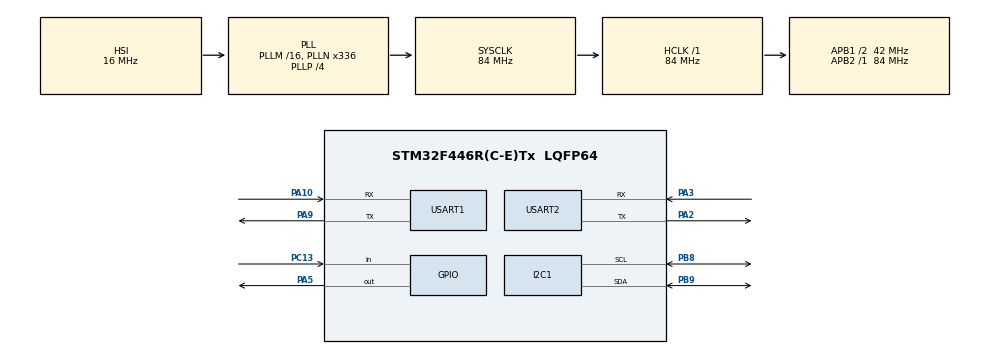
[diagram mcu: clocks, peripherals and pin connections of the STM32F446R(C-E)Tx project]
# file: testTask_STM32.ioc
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Dma.Request0=USART1_RX
Dma.Request1=USART2_RX
Dma.USART1_RX.0.Direction=DMA_PERIPH_TO_MEMORY
Dma.USART1_RX.0.FIFOMode=DMA_FIFOMODE_DISABLE
Dma.USART1_RX.0.Instance=DMA2_Stream2
Dma.USART1_RX.0.MemDataAlignment=DMA_MDATAALIGN_BYTE
Dma.USART1_RX.0.MemInc=DMA_MINC_ENABLE
Dma.USART1_RX.0.Mode=DMA_CIRCULAR
Dma.USART1_RX.0.PeriphDataAlignment=DMA_PDATAALIGN_BYTE
Dma.USART1_RX.0.PeriphInc=DMA_PINC_DISABLE
Dma.USART1_RX.0.Priority=DMA_PRIORITY_LOW
Dma.USART2_RX.1.Direction=DMA_PERIPH_TO_MEMORY
Dma.USART2_RX.1.FIFOMode=DMA_FIFOMODE_DISABLE
Dma.USART2_RX.1.Instance=DMA1_Stream5
Dma.USART2_RX.1.MemDataAlignment=DMA_MDATAALIGN_BYTE
Dma.USART2_RX.1.MemInc=DMA_MINC_ENABLE
Dma.USART2_RX.1.Mode=DMA_CIRCULAR
Dma.USART2_RX.1.PeriphDataAlignment=DMA_PDATAALIGN_BYTE
Dma.USART2_RX.1.PeriphInc=DMA_PINC_DISABLE
Dma.USART2_RX.1.Priority=DMA_PRIORITY_LOW
FREERTOS.Mutexes01=dataMutex01,Dynamic,NULL
FREERTOS.Tasks01=defaultTask,0,128,sensorThread1,Default,NULL,Dynamic,NULL,NULL;myTask02,-3,128,serverThread2,Default,NULL,Dynamic,NULL,NULL
Mcu.Family=STM32F4
Mcu.Name=STM32F446R(C-E)Tx
Mcu.Package=LQFP64
NVIC.DMA1_Stream5_IRQn=true\:5\:0\:false\:false\:true\:true\:false
NVIC.DMA2_Stream2_IRQn=true\:5\:0\:false\:false\:true\:true\:false
NVIC.PriorityGroup=NVIC_PRIORITYGROUP_4
NVIC.TIM3_IRQn=true\:0\:0\:false\:false\:true\:false\:false
NVIC.TimeBase=TIM3_IRQn
NVIC.TimeBaseIP=TIM3
NVIC.USART1_IRQn=true\:5\:0\:false\:false\:true\:true\:true
NVIC.USART2_IRQn=true\:5\:0\:false\:false\:true\:true\:true
PA10.Mode=Asynchronous
PA10.Signal=USART1_RX
PA2.Mode=Asynchronous
PA2.Signal=USART2_TX
PA3.Mode=Asynchronous
PA3.Signal=USART2_RX
PA5.Signal=GPIO_Output
PA9.Mode=Asynchronous
PA9.Signal=USART1_TX
PB8.Mode=I2C
PB8.Signal=I2C1_SCL
PB9.Mode=I2C
PB9.Signal=I2C1_SDA
PC13.Signal=GPIO_Input
ProjectManager.HeapSize=0x200
ProjectManager.StackSize=0x400
ProjectManager.TargetToolchain=MDK-ARM V5
RCC.48MHZClocksFreq_Value=84000000
RCC.AHBFreq_Value=84000000
RCC.APB1CLKDivider=RCC_HCLK_DIV2
RCC.APB1Freq_Value=42000000
RCC.APB1TimFreq_Value=84000000
RCC.APB2Freq_Value=84000000
RCC.APB2TimFreq_Value=84000000
RCC.CortexFreq_Value=84000000
RCC.FLatency-AdvancedSettings=FLASH_LATENCY_2
RCC.HCLKFreq_Value=84000000
RCC.HSE_VALUE=8000000
RCC.HSI_VALUE=16000000
RCC.PLLN=336
RCC.PLLP=RCC_PLLP_DIV4
RCC.SYSCLKFreq_VALUE=84000000
RCC.SYSCLKSource=RCC_SYSCLKSOURCE_PLLCLK
RCC.USBFreq_Value=168000000
RCC.VCOOutputFreq_Value=336000000
USART1.VirtualMode=VM_ASYNC
USART2.VirtualMode=VM_ASYNC
VP_FREERTOS_VS_ENABLE.Mode=Enabled
VP_SYS_VS_tim3.Mode=TIM3
board=NUCLEO-F446RE

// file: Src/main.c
/**
  ******************************************************************************
  * @file           : main.c
  * @brief          : Main program body
  ******************************************************************************
  * This notice applies to any and all portions of this file
  * that are not between comment pairs USER CODE BEGIN and
  * USER CODE END. Other portions of this file, whether
  * inserted by the user or by software development tools
  * are owned by their respective copyright owners.
  *
  * Copyright (c) 2020 STMicroelectronics International N.V.
  * All rights reserved.
  *
  * Redistribution and use in source and binary forms, with or without
  * modification, are permitted, provided that the following conditions are met:
  *
  * 1. Redistribution of source code must retain the above copyright notice,
  *    this list of conditions and the following disclaimer.
  * 2. Redistributions in binary form must reproduce the above copyright notice,
  *    this list of conditions and the following disclaimer in the documentation
  *    and/or other materials provided with the distribution.
  * 3. Neither the name of STMicroelectronics nor the names of other
  *    contributors to this software may be used to endorse or promote products
  *    derived from this software without specific written permission.
  * 4. This software, including modifications and/or derivative works of this
  *    software, must execute solely and exclusively on microcontroller or
  *    microprocessor devices manufactured by or for STMicroelectronics.
  * 5. Redistribution and use of this software other than as permitted under
  *    this license is void and will automatically terminate your rights under
  *    this license.
  *
  * THIS SOFTWARE IS PROVIDED BY STMICROELECTRONICS AND CONTRIBUTORS "AS IS"
  * AND ANY EXPRESS, IMPLIED OR STATUTORY WARRANTIES, INCLUDING, BUT NOT
  * LIMITED TO, THE IMPLIED WARRANTIES OF MERCHANTABILITY, FITNESS FOR A
  * PARTICULAR PURPOSE AND NON-INFRINGEMENT OF THIRD PARTY INTELLECTUAL PROPERTY
  * RIGHTS ARE DISCLAIMED TO THE FULLEST EXTENT PERMITTED BY LAW. IN NO EVENT
  * SHALL STMICROELECTRONICS OR CONTRIBUTORS BE LIABLE FOR ANY DIRECT, INDIRECT,
  * INCIDENTAL, SPECIAL, EXEMPLARY, OR CONSEQUENTIAL DAMAGES (INCLUDING, BUT NOT
  * LIMITED TO, PROCUREMENT OF SUBSTITUTE GOODS OR SERVICES; LOSS OF USE, DATA,
  * OR PROFITS; OR BUSINESS INTERRUPTION) HOWEVER CAUSED AND ON ANY THEORY OF
  * LIABILITY, WHETHER IN CONTRACT, STRICT LIABILITY, OR TORT (INCLUDING
  * NEGLIGENCE OR OTHERWISE) ARISING IN ANY WAY OUT OF THE USE OF THIS SOFTWARE,
  * EVEN IF ADVISED OF THE POSSIBILITY OF SUCH DAMAGE.
  *
  ******************************************************************************
  */
#include "main.h"
#include "stm32f4xx_hal.h"
#include "cmsis_os.h"

/* USER CODE BEGIN Includes */
#include <stdlib.h>
#include <string.h>
#include "MQTTPacket/src/MQTTPacket.h"
#include "sensorsI2C.h"

#define STRLEN(STR)  sizeof(STR)/sizeof(uint8_t)
#define ESPBUF       1000
#define SIZEUART1RES 1
#define SIZEUART2RES 1
#define ATSENDSIZE   48

#define SSID       "summer"
#define PASS       "Milan2019"
#define SERVERURL  "quickstart.messaging.internetofthings.ibmcloud.com"
#define TCPPORT    "1883"
#define MQTTTOPIC  "iot-2/evt/status/fmt/json"
#define MQTTID     "d:quickstart:arduino:6001941ce5bf"

/* USER CODE END Includes */

I2C_HandleTypeDef hi2c1;

UART_HandleTypeDef huart1;
UART_HandleTypeDef huart2;
DMA_HandleTypeDef hdma_usart1_rx;
DMA_HandleTypeDef hdma_usart2_rx;

osThreadId defaultTaskHandle;
osThreadId myTask02Handle;
osMutexId dataMutex01Handle;
osMutexId uart2Mutex02Handle;

float pressure, temperature, humidity;
uint16_t size;
uint8_t Data[256];
uint8_t AT_SSID_CON_[100];
uint8_t AT_CONNECT_TO_SERVER_[100];

/* USER CODE BEGIN PV */
/* Private variables ---------------------------------------------------------*/
uint8_t espReply[ESPBUF];
uint16_t espCount=0;

/* USER CODE END PV */

void SystemClock_Config(void);
static void MX_GPIO_Init(void);
static void MX_DMA_Init(void);
static void MX_USART2_UART_Init(void);
static void MX_USART1_UART_Init(void);
static void MX_I2C1_Init(void);
void sensorThread1(void const * argument);
void serverThread2(void const * argument);

/* USER CODE BEGIN PFP */
/* Private function prototypes -----------------------------------------------*/

int8_t  uintToString(uint16_t value, uint8_t *buffer, uint8_t lengthOfint) //buff =3!!!
{
  if(buffer==NULL) return -1;

if(lengthOfint==8)  //  uint8_t
    {
        int i =2;
       do
       {
          buffer[i] = value % 10 + '0';
          value /= 10;
           i--;
       }
       while (value != 0);
       return 3; //string length 3
    }

else if (lengthOfint==16) //  uint16_t
    {
         int i = 10;
       do
       {
          buffer[i] = value % 10 + '0';
          value /= 10;
           i--;
       }
       while (value != 0);
       return 11;  //string length 11
    }

}

void strSendUART1 (uint8_t *str, uint16_t theStrlen )
{
   if(str==NULL) return;

   if(*str!=NULL)
   HAL_UART_Transmit(&huart1,str, theStrlen,10);
}
void strSendUART2 (uint8_t *str, uint16_t theStrlen )
{
   if(str==NULL) return;

   if(*str!=NULL)
   HAL_UART_Transmit(&huart2,str,theStrlen,10);
}

void espReplyNewData(uint8_t chr)
{

    if (espCount<ESPBUF)
    {
        espReply[espCount] = chr;
        espCount++;
    }
    else
    {
        espCount=0;
        espReply[espCount] = chr;
        espCount++;
    }

}

void espReplyToUART2()
{

    int dataSizeInBuffer = 0;
    for(int i=0;i<ESPBUF;i++)
    {
        if(espReply[i]!=NULL)
            dataSizeInBuffer++;
        else break;
    }
    strSendUART2(espReply,dataSizeInBuffer);

}

void espReplyClear()
{

    for(int i=0;i<ESPBUF;i++)
    {
        espReply[i]=NULL;
    }
    espCount = 0;

}

int8_t espReplyIsSubstring(uint8_t *subStr, uint16_t theSubstrlen)
{
if  ( subStr==NULL) return -1;

    for(int i=0;i<(ESPBUF-theSubstrlen+1);i++)
    {
        for(int j=0;j<theSubstrlen;j++)
        {
            if (espReply[i+j]!=subStr[j])
                break;
            if (j==theSubstrlen-1)
            {

                uint8_t status []="\nStatus: ";
                uint8_t nLine []="\n";
                /*
                HAL_UART_Transmit(&huart2,status,9,10);
                HAL_UART_Transmit(&huart2,subStr, theSubstrlen,10);
                HAL_UART_Transmit(&huart2,nLine,1,10);
                */
                strSendUART2(status,STRLEN(status));
                strSendUART2(subStr,theSubstrlen);
                strSendUART2(nLine,STRLEN(nLine));

                return 1;

            }
        }
        if (i==ESPBUF-theSubstrlen)
                return 0;
    }

}

int8_t sendRequest(uint8_t *request, uint8_t theStrlen)
{
    if(request==NULL) return -1;

    if (theStrlen>ATSENDSIZE){ uint8_t error[] = "ERROR: Message was not sent, it is too long ...\n";  strSendUART2(error,STRLEN(error)); return 0;}
    if (theStrlen==0){ uint8_t error[] = "ERROR: No data to send ...\n";  strSendUART2(error,STRLEN(error)); return 0;}

    uint8_t AT_CIPSEND[] =  "AT+CIPSEND="; //AT+CIPSEND=48\r\n;  ATSENDSIZE max via one transaction
    uint8_t AT_END [] = "\r\n";
    uint8_t rep1[] ="OK";
    uint8_t _WAIT[] ="Waiting for AT reply ...\n";

    uint8_t numb [3] ={' ',' ',' '};
    uintToString(theStrlen,numb,sizeof(theStrlen));
    int sizeOfNumb=3;
    for(int i=0;i<3;i++)
    {
     if( numb[i]==' ') --sizeOfNumb;
     else break;
    }

     uint8_t length = STRLEN(AT_CIPSEND)-1+sizeOfNumb+2;
     uint8_t *AT_CIPSEND_NUMB_ENDL = (uint8_t *)malloc(length);

     uint8_t *DATA = (uint8_t *)malloc(theStrlen);
     for(int i=0;i<theStrlen;i++)
        {DATA[i]=*(request++);}

       int i=0;
                for(int j=0; j<sizeof(AT_CIPSEND)-1; j++)
                {
                    AT_CIPSEND_NUMB_ENDL[i]=AT_CIPSEND[j];
                    i++;
                }
                for(int j=STRLEN(numb)-sizeOfNumb; j<STRLEN(numb); j++)
                {
                    AT_CIPSEND_NUMB_ENDL[i]=numb[j];
                    i++;
                }
                for(int j=0;j<STRLEN(AT_END)-1;j++)
                {
                    AT_CIPSEND_NUMB_ENDL[i]=AT_END[j];
                    i++;
                }

   espReplyClear();

   strSendUART2(AT_CIPSEND_NUMB_ENDL,length);
   strSendUART2(DATA,theStrlen);

    strSendUART1(AT_CIPSEND_NUMB_ENDL,length);
        while(espReplyIsSubstring(rep1,2)==0){
                //strSendUART2(_WAIT,STRLEN(_WAIT));

                }
   espReplyToUART2();
   espReplyClear();

   strSendUART1(DATA,theStrlen);
        while(espReplyIsSubstring(rep1,2)==0){
               // strSendUART2(_WAIT,STRLEN(_WAIT));
                }

   espReplyToUART2();
   espReplyClear();

       free (AT_CIPSEND_NUMB_ENDL);
       free (DATA);

return 1;
}

int8_t sendRequestAnySize(uint8_t *request, uint16_t theStrlen)
{

    if(request==NULL) return -1;

    uint16_t remainder=0;
    uint16_t whole=0;

    remainder = theStrlen%ATSENDSIZE;
    whole = (uint16_t)(theStrlen/ATSENDSIZE);

    int i=0;
    for(;i<whole; i++)
    {
        sendRequest(request+i*ATSENDSIZE, ATSENDSIZE);
    }

    if (remainder>0&&whole>0)
    {
        i++;
        sendRequest(request+i*ATSENDSIZE, remainder);
    }
    else if(remainder>0&&whole==0)
    { sendRequest(request, remainder);}

    return 1;
}

/* USER CODE END PFP */

/* USER CODE BEGIN 0 */
uint8_t myDataRX2  [SIZEUART2RES];
uint8_t myDataRX1  [SIZEUART1RES];

/* USER CODE END 0 */

int main(void)
{

  /* MCU Configuration----------------------------------------------------------*/

  /* Reset of all peripherals, Initializes the Flash interface and the Systick. */
  HAL_Init();

  /* Configure the system clock */
  SystemClock_Config();

  /* Initialize all configured peripherals */
  MX_GPIO_Init();
  MX_DMA_Init();
  MX_USART2_UART_Init();
  MX_USART1_UART_Init();
  MX_I2C1_Init();
  /* USER CODE BEGIN 2 */
  HAL_UART_Receive_DMA(&huart2,myDataRX2, SIZEUART2RES);
  HAL_UART_Receive_DMA(&huart1,myDataRX1, SIZEUART1RES);

  /* USER CODE END 2 */

  /* Create the mutex(es) */
  /* definition and creation of dataMutex01 */
  osMutexDef(dataMutex01);
  dataMutex01Handle = osMutexCreate(osMutex(dataMutex01));

  /* Create the thread(s) */
  /* definition and creation of defaultTask */
  osThreadDef(defaultTask, sensorThread1, osPriorityNormal, 0, 128);
  defaultTaskHandle = osThreadCreate(osThread(defaultTask), NULL);

  /* definition and creation of myTask02 */
  osThreadDef(myTask02, serverThread2, osPriorityIdle, 0, 528);
  myTask02Handle = osThreadCreate(osThread(myTask02), NULL);

  /* Start scheduler */
  osKernelStart();

  /* We should never get here as control is now taken by the scheduler */

  /* Infinite loop */
  /* USER CODE BEGIN WHILE */

  espReplyClear();
  while (1)
  {

  /* USER CODE END WHILE */
  }

}

void SystemClock_Config(void)
{

  RCC_OscInitTypeDef RCC_OscInitStruct;
  RCC_ClkInitTypeDef RCC_ClkInitStruct;

    /**Configure the main internal regulator output voltage
    */
  __HAL_RCC_PWR_CLK_ENABLE();

  __HAL_PWR_VOLTAGESCALING_CONFIG(PWR_REGULATOR_VOLTAGE_SCALE3);

    /**Initializes the CPU, AHB and APB busses clocks
    */
  RCC_OscInitStruct.OscillatorType = RCC_OSCILLATORTYPE_HSI;
  RCC_OscInitStruct.HSIState = RCC_HSI_ON;
  RCC_OscInitStruct.HSICalibrationValue = 16;
  RCC_OscInitStruct.PLL.PLLState = RCC_PLL_ON;
  RCC_OscInitStruct.PLL.PLLSource = RCC_PLLSOURCE_HSI;
  RCC_OscInitStruct.PLL.PLLM = 16;
  RCC_OscInitStruct.PLL.PLLN = 336;
  RCC_OscInitStruct.PLL.PLLP = RCC_PLLP_DIV4;
  RCC_OscInitStruct.PLL.PLLQ = 2;
  RCC_OscInitStruct.PLL.PLLR = 2;
  if (HAL_RCC_OscConfig(&RCC_OscInitStruct) != HAL_OK)
  {
    _Error_Handler(__FILE__, __LINE__);
  }

    /**Initializes the CPU, AHB and APB busses clocks
    */
  RCC_ClkInitStruct.ClockType = RCC_CLOCKTYPE_HCLK|RCC_CLOCKTYPE_SYSCLK
                              |RCC_CLOCKTYPE_PCLK1|RCC_CLOCKTYPE_PCLK2;
  RCC_ClkInitStruct.SYSCLKSource = RCC_SYSCLKSOURCE_PLLCLK;
  RCC_ClkInitStruct.AHBCLKDivider = RCC_SYSCLK_DIV1;
  RCC_ClkInitStruct.APB1CLKDivider = RCC_HCLK_DIV2;
  RCC_ClkInitStruct.APB2CLKDivider = RCC_HCLK_DIV1;

  if (HAL_RCC_ClockConfig(&RCC_ClkInitStruct, FLASH_LATENCY_2) != HAL_OK)
  {
    _Error_Handler(__FILE__, __LINE__);
  }

    /**Configure the Systick interrupt time
    */
  HAL_SYSTICK_Config(HAL_RCC_GetHCLKFreq()/1000);

    /**Configure the Systick
    */
  HAL_SYSTICK_CLKSourceConfig(SYSTICK_CLKSOURCE_HCLK);

  /* SysTick_IRQn interrupt configuration */
  HAL_NVIC_SetPriority(SysTick_IRQn, 15, 0);
}

/* I2C1 init function */
static void MX_I2C1_Init(void)
{

  hi2c1.Instance = I2C1;
  hi2c1.Init.ClockSpeed = 100000;
  hi2c1.Init.DutyCycle = I2C_DUTYCYCLE_2;
  hi2c1.Init.OwnAddress1 = 0;
  hi2c1.Init.AddressingMode = I2C_ADDRESSINGMODE_7BIT;
  hi2c1.Init.DualAddressMode = I2C_DUALADDRESS_DISABLE;
  hi2c1.Init.OwnAddress2 = 0;
  hi2c1.Init.GeneralCallMode = I2C_GENERALCALL_DISABLE;
  hi2c1.Init.NoStretchMode = I2C_NOSTRETCH_DISABLE;
  if (HAL_I2C_Init(&hi2c1) != HAL_OK)
  {
    _Error_Handler(__FILE__, __LINE__);
  }

}

/* USART1 init function */
static void MX_USART1_UART_Init(void)
{

  huart1.Instance = USART1;
  huart1.Init.BaudRate = 115200;
  huart1.Init.WordLength = UART_WORDLENGTH_8B;
  huart1.Init.StopBits = UART_STOPBITS_1;
  huart1.Init.Parity = UART_PARITY_NONE;
  huart1.Init.Mode = UART_MODE_TX_RX;
  huart1.Init.HwFlowCtl = UART_HWCONTROL_NONE;
  huart1.Init.OverSampling = UART_OVERSAMPLING_16;
  if (HAL_UART_Init(&huart1) != HAL_OK)
  {
    _Error_Handler(__FILE__, __LINE__);
  }

}

/* USART2 init function */
static void MX_USART2_UART_Init(void)
{

  huart2.Instance = USART2;
  huart2.Init.BaudRate = 115200;
  huart2.Init.WordLength = UART_WORDLENGTH_8B;
  huart2.Init.StopBits = UART_STOPBITS_1;
  huart2.Init.Parity = UART_PARITY_NONE;
  huart2.Init.Mode = UART_MODE_TX_RX;
  huart2.Init.HwFlowCtl = UART_HWCONTROL_NONE;
  huart2.Init.OverSampling = UART_OVERSAMPLING_16;
  if (HAL_UART_Init(&huart2) != HAL_OK)
  {
    _Error_Handler(__FILE__, __LINE__);
  }

}

static void MX_DMA_Init(void)
{
  /* DMA controller clock enable */
  __HAL_RCC_DMA2_CLK_ENABLE();
  __HAL_RCC_DMA1_CLK_ENABLE();

  /* DMA interrupt init */
  /* DMA1_Stream5_IRQn interrupt configuration */
  HAL_NVIC_SetPriority(DMA1_Stream5_IRQn, 5, 0);
  HAL_NVIC_EnableIRQ(DMA1_Stream5_IRQn);
  /* DMA2_Stream2_IRQn interrupt configuration */
  HAL_NVIC_SetPriority(DMA2_Stream2_IRQn, 5, 0);
  HAL_NVIC_EnableIRQ(DMA2_Stream2_IRQn);

}

/** Configure pins as
        * Analog
        * Input
        * Output
        * EVENT_OUT
        * EXTI
*/
static void MX_GPIO_Init(void)
{

  GPIO_InitTypeDef GPIO_InitStruct;

  /* GPIO Ports Clock Enable */
  __HAL_RCC_GPIOC_CLK_ENABLE();
  __HAL_RCC_GPIOA_CLK_ENABLE();
  __HAL_RCC_GPIOB_CLK_ENABLE();

  /*Configure GPIO pin Output Level */
  HAL_GPIO_WritePin(GPIOA, GPIO_PIN_5, GPIO_PIN_RESET);

  /*Configure GPIO pin : PC13 */
  GPIO_InitStruct.Pin = GPIO_PIN_13;
  GPIO_InitStruct.Mode = GPIO_MODE_INPUT;
  GPIO_InitStruct.Pull = GPIO_NOPULL;
  HAL_GPIO_Init(GPIOC, &GPIO_InitStruct);

  /*Configure GPIO pin : PA5 */
  GPIO_InitStruct.Pin = GPIO_PIN_5;
  GPIO_InitStruct.Mode = GPIO_MODE_OUTPUT_PP;
  GPIO_InitStruct.Pull = GPIO_NOPULL;
  GPIO_InitStruct.Speed = GPIO_SPEED_FREQ_LOW;
  HAL_GPIO_Init(GPIOA, &GPIO_InitStruct);

}

/* USER CODE BEGIN 4 */

void HAL_UART_RxCpltCallback(UART_HandleTypeDef *huart)
{
  /* Prevent unused argument(s) compilation warning */
  UNUSED(huart);

    if(huart==&huart1)
    {

        //strSendUART2(myDataRX1,STRLEN(myDataRX1));
           espReplyNewData(*myDataRX1);

    }
    if(huart==&huart2)
    {

    }

  /* NOTE: This function Should not be modified, when the callback is needed,
           the HAL_UART_TxCpltCallback could be implemented in the user file
   */
}

/* USER CODE END 4 */

/* sensorThread1 function */
void sensorThread1(void const * argument)
{
////////////////////bmp280/////////////////////
sensorsI2C_BMP280Initialization(  &hi2c1, &huart2, Data, size  );
//////////////////end_bmp280///////////////////////

  for(;;)
  {
///////////////////bmp280//////////////////////
osMutexWait(dataMutex01Handle, osWaitForever);
sensorsI2C_BMP280GetData( &hi2c1,&huart2, Data, size, &temperature, &pressure, &humidity);
osMutexRelease(dataMutex01Handle);
/////////////////end_bmp280////////////////////////

    osDelay(100);
  }
  /* USER CODE END 5 */
}

/* serverThread2 function */
void serverThread2(void const * argument)
{
///////////////////MQTT/////////////////////

MQTTPacket_connectData data = MQTTPacket_connectData_initializer;
uint16_t rc = 0;
uint8_t buf[200];
int buflen = sizeof(buf);
MQTTString topicString = MQTTString_initializer;
uint8_t payload[100];
data.clientID.cstring = MQTTID;
data.keepAliveInterval = 20;
data.cleansession = 1;
topicString.cstring = MQTTTOPIC;

//////////////////endMQTT///////////////////

  /* USER CODE BEGIN serverThread2 */
  /* Infinite loop */

    uint8_t AT_RST[]    = "AT+RST\r\n";
    uint8_t AT_CIPMODE[]= "AT+CIPMODE=1\r\n";
    uint8_t AT_CIPSEND[]= "AT+CIPSEND\r\n";
    uint8_t AT_CIFSR[]  = "AT+CIFSR\r\n";
    uint8_t AT_CIPMODECLOSE[3]={'+','+','+'};
    uint8_t AT_CONNECT_TO_SERVER[]=  "AT+CIPSTART=\"TCP\",\"quickstart.messaging.internetofthings.ibmcloud.com\",1883\r\n";
    sprintf((char *)AT_SSID_CON_,"AT+CWJAP=\"%s\",\"%s\"\r\n",SSID,PASS);

    //strSendUART2(AT_SSID_CON_,STRLEN(AT_SSID_CON_));

//////////////////////////////////////////
    ////////////ESP8266 status////////////
    uint8_t _WAIT_WIFI[]      ="connecting to WiFi...\n";
    uint8_t _WAIT_IP[]        ="getting IP...\n";
    uint8_t _WAIT_SERVERCON[] ="Connecting to the server...\n";
    uint8_t _WIFI_connected[] ="WiFi connected.\n";
    uint8_t _WAIT_CIPMODE[]   ="CIPMODE...\n";

    ////////////ESP8266 reply////////////
    uint8_t rep_OK[] =     "OK";
    uint8_t rep_STAIP[] =  "STAIP";
    uint8_t rep_CONNECT[]= "CONNECT";
    uint8_t rep_CIPSEND[]= ">";
    uint8_t _WAIT_CIPSEND[] ="SIPMODE ON\n";
    uint8_t NEWLINE[] ="\n";
///////////////////////////////////////////

/*---------------------ESP8266 setting---------------------*/

espReplyClear();
strSendUART1(AT_CIPMODECLOSE,STRLEN(AT_CIPMODECLOSE));
HAL_Delay(2000);

    //connectiong to WiFi AP
      espReplyClear();
      strSendUART1(AT_SSID_CON_,STRLEN(AT_SSID_CON_)-1);
      while(espReplyIsSubstring(rep_OK,STRLEN(rep_OK)-1)==0){
            espReplyClear();
            strSendUART1(AT_CIFSR,STRLEN(AT_CIFSR)-1);
            strSendUART2( _WAIT_WIFI,STRLEN( _WAIT_WIFI));
            HAL_Delay(300);
            }

    //GET IP
    while(espReplyIsSubstring(rep_STAIP,STRLEN(rep_STAIP)-1)==0){
            espReplyToUART2();
            espReplyClear();
            strSendUART1(AT_CIFSR,STRLEN(AT_CIFSR));
            strSendUART2(_WAIT_IP,STRLEN(_WAIT_IP));
            HAL_Delay(300);
            }
    espReplyToUART2();
    espReplyClear();

   //set ESP8266 set in CIPMODE (uart<->WiFi)
   strSendUART1(AT_CIPMODE,STRLEN(AT_CIPMODE)-1);
   while(espReplyIsSubstring(rep_OK,STRLEN(rep_OK)-1)==0){
            strSendUART2(_WAIT_CIPMODE,STRLEN(_WAIT_CIPMODE));
            HAL_Delay(300);
            }
   espReplyToUART2();
   espReplyClear();

/*---------------------endESP8266 setting ---------------------*/

  for(;;)
  {
    int max_attampts = 10;
    int ok;

/*---------Connect to the server and transmit the data---------*/

    //Connecting to the server
   for(int i=0;i<max_attampts;i++)
        {
        ok=0;
        strSendUART1(AT_CONNECT_TO_SERVER,STRLEN(AT_CONNECT_TO_SERVER));
        strSendUART2(_WAIT_SERVERCON,STRLEN(_WAIT_SERVERCON));
        HAL_Delay(100);
        if(espReplyIsSubstring(rep_CONNECT,STRLEN(rep_CONNECT)-1)==1){ ok = 1; break;}
        }
   espReplyToUART2();
   espReplyClear();

   // CIPMODE (uart<->WiFi) gets ready to start
   for(int i=0;i<max_attampts;i++)
        {
            if (ok==0) break ;
        ok=0;
        strSendUART1(AT_CIPSEND,STRLEN(AT_CIPSEND));
        strSendUART2(_WAIT_CIPSEND,STRLEN(_WAIT_CIPSEND));
        HAL_Delay(100);
        if(espReplyIsSubstring(rep_CIPSEND,STRLEN(rep_CIPSEND)-1)==1) { ok = 1; break;}

        }
   espReplyToUART2();
   espReplyClear(); //NEWLINE

   if(ok==1)
        {
        strSendUART2(NEWLINE,STRLEN(NEWLINE));
        ////////////////
        osMutexWait(dataMutex01Handle, osWaitForever);
        uint16_t payloadlen =sprintf((char *)payload,"{\n\"d\":{\n\"myName\":\"STM32\",\n\"temp (C)\": %.2f\n}\n}",temperature); //
        osMutexRelease(dataMutex01Handle);

        uint16_t len = MQTTSerialize_connect(buf, buflen, &data);
        len += (uint16_t)MQTTSerialize_publish(buf + len, buflen - len, 0, 0, 0, 0, topicString, payload, payloadlen);
        len += MQTTSerialize_disconnect(buf + len, buflen - len);

        strSendUART2(NEWLINE,STRLEN(NEWLINE));
        strSendUART2(buf,len);
        strSendUART2(NEWLINE,STRLEN(NEWLINE));

           strSendUART1(buf,len);
           HAL_Delay(200);
        ////////////////

           strSendUART1(AT_CIPMODECLOSE,STRLEN(AT_CIPMODECLOSE));  //CIPMODE close
           HAL_Delay(200);

/*---------end Connect to the server and transmit the data---------*/
         }
  }
  /* USER CODE END serverThread2 */
}

void HAL_TIM_PeriodElapsedCallback(TIM_HandleTypeDef *htim)
{
  if (htim->Instance == TIM3) {
    HAL_IncTick();
  }
}

void _Error_Handler(char *file, int line)
{
  while(1)
  {
  }
}

/************************ (C) COPYRIGHT STMicroelectronics *****END OF FILE****/
